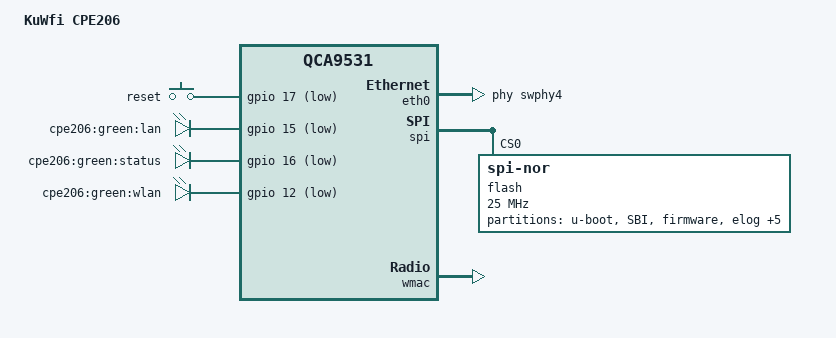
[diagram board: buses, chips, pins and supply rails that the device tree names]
// SPDX-License-Identifier: GPL-2.0-or-later OR MIT
/dts-v1/;

#include <dt-bindings/gpio/gpio.h>
#include <dt-bindings/input/input.h>

#include "qca953x.dtsi"

/ {
	compatible = "kuwfi,cpe206", "qca,qca9531";
	model = "KuWfi CPE206";

	aliases {
		led-boot = &status;
		led-failsafe = &status;
		led-running = &status;
		led-upgrade = &status;
	};

	keys {  
		compatible = "gpio-keys";

		reset { 
			label = "reset";
			linux,code = <KEY_RESTART>;
			gpios = <&gpio 17 GPIO_ACTIVE_LOW>;
			debounce-interval = <60>;
		};
	};

	leds {  
		compatible = "gpio-leds";

		lan {
			label = "cpe206:green:lan";
			gpios = <&gpio 15 GPIO_ACTIVE_LOW>;
		};

		status: status {
			label = "cpe206:green:status";
			gpios = <&gpio 16 GPIO_ACTIVE_LOW>;
			default-state = "keep";
		};

		wlan {
			label = "cpe206:green:wlan";
			gpios = <&gpio 12 GPIO_ACTIVE_LOW>;
			linux,default-trigger = "phy0tpt";
		};
	};
};

&eth0 {
	status = "okay";
	phy-handle = <&swphy4>;
	mtd-mac-address = <&art 0x10a0>;
};

&eth1 {
	compatible = "syscon", "simple-mfd";
	status = "okay";

	gmac-config {
		device = <&gmac>;
		switch-phy-swap = <0>;
	};
};

&spi {
	status = "okay";

	num-cs = <1>;

	flash@0 {
		compatible = "jedec,spi-nor";
		reg = <0>;
		spi-max-frequency = <25000000>;

		partitions {
			compatible = "fixed-partitions";
			#address-cells = <1>;
			#size-cells = <1>;

			partition@0 {
				label = "u-boot";
				reg = <0x000000 0x01c000>;
				read-only;
			};

			partition@0x01c000 {
				label = "SBI";
				reg = <0x01c000 0x4000>;
				read-only;
			};
		
			partition@0x020000 {
				label = "firmware";
				compatible = "denx,uimage";
				reg = <0x020000 0x780000>;
			};

			partition@0x7a0000 {
				label = "elog";
				reg = <0x7a0000 0x10000>;
				read-only;
			};

			partition@0x7b0000 {
				label = "config";
				reg = <0x7b0000 0x10000>;
				read-only;
			};

			partition@0x7c0000 {
				label = "config2";
				reg = <0x7c0000 0x10000>;
				read-only;
			};

			partition@0x7d0000 {
				label = "custom";
				reg = <0x7d0000 0x10000>;
				read-only;
			};

			partition@0x7e0000 {
				label = "DTB";
				reg = <0x7e0000 0x10000>;
				read-only;
			};

			art: partition@0x7f0000 {
				label = "CAL";
				reg = <0x7f0000 0x10000>;
				read-only;
			};
		};
	};
};

&wmac { 
	status = "okay";
	mtd-cal-data = <&art 0x1000>;
};
